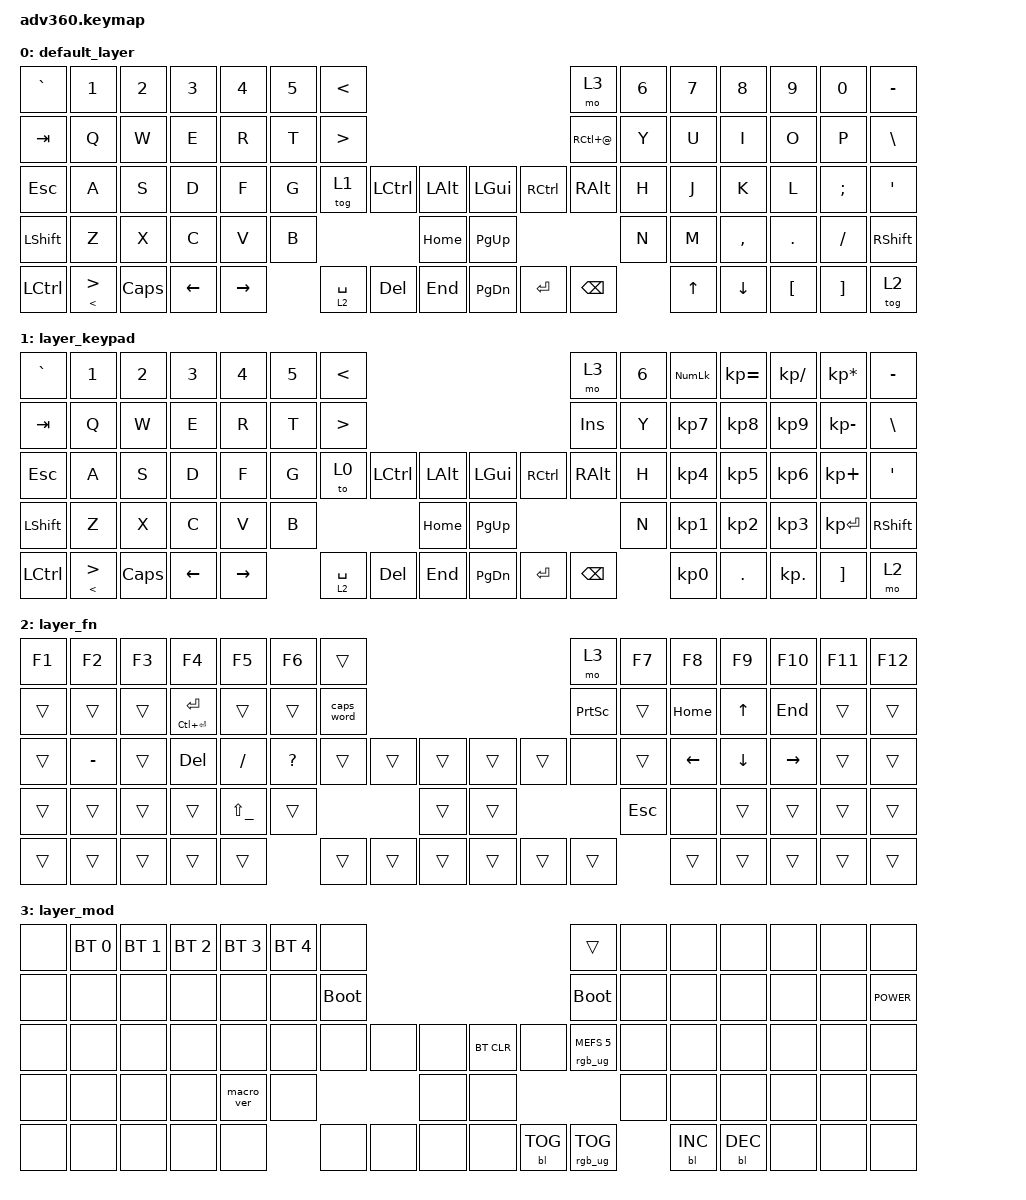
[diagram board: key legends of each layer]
/*
 * Copyright (c) 2020 The ZMK Contributors
 *
 * SPDX-License-Identifier: MIT
 */
/* THIS FILE WAS GENERATED!
 *
 * This file was generated automatically. You may or may not want to
 * edit it directly.
 */

#include <behaviors.dtsi>
#include <dt-bindings/zmk/backlight.h>
#include <dt-bindings/zmk/bt.h>
#include <dt-bindings/zmk/keys.h>
#include <dt-bindings/zmk/rgb.h>

/ {
    behaviors {
        #include "macros.dtsi"
    #include "version.dtsi"

        hm: homerow_mods {
            compatible = "zmk,behavior-hold-tap";
            label = "HOMEROW_MODS";
            #binding-cells = <2>;
            tapping-term-ms = <200>;
            quick_tap_ms = <175>;
            flavor = "tap-preferred";
            bindings = <&kp>, <&kp>;
        };
    };

    keymap {
        compatible = "zmk,keymap";

        default_layer {
            bindings = <
&kp GRAVE  &kp N1                      &kp N2    &kp N3          &kp N4           &kp N5  &kp LT                                                       &mo 3            &kp N6  &kp N7        &kp N8          &kp N9    &kp N0    &kp MINUS
&kp TAB    &kp Q                       &kp W     &kp E           &kp R            &kp T   &kp GT                                                       &kp RC(AT_SIGN)  &kp Y   &kp U         &kp I           &kp O     &kp P     &kp BSLH
&kp ESC    &kp A                       &kp S     &kp D           &kp F            &kp G   &tog 1       &kp LCTRL   &kp LALT      &kp LGUI   &kp RCTRL  &kp RALT         &kp H   &kp J         &kp K           &kp L     &kp SEMI  &kp SQT
&kp LSHFT  &kp Z                       &kp X     &kp C           &kp V            &kp B                            &kp HOME      &kp PG_UP                              &kp N   &kp M         &kp COMMA       &kp DOT   &kp FSLH  &kp RSHFT
&kp LCTRL  &hm LESS_THAN GREATER_THAN  &kp CLCK  &kp LEFT_ARROW  &kp RIGHT_ARROW          &lt 2 SPACE  &kp DELETE  &kp END       &kp PG_DN  &kp RET    &kp BSPC                 &kp UP_ARROW  &kp DOWN_ARROW  &kp LBKT  &kp RBKT  &tog 2
            >;
        };

        layer_keypad {
            bindings = <
&kp GRAVE  &kp N1                      &kp N2    &kp N3    &kp N4     &kp N5  &kp LESS_THAN                                                    &mo 3          &kp N6  &kp KP_NUM       &kp KP_EQUAL  &kp KP_DIVIDE  &kp KP_MULTIPLY  &kp MINUS
&kp TAB    &kp Q                       &kp W     &kp E     &kp R      &kp T   &kp GREATER_THAN                                                 &kp INSERT     &kp Y   &kp KP_N7        &kp KP_N8     &kp KP_N9      &kp KP_MINUS     &kp BSLH
&kp ESC    &kp A                       &kp S     &kp D     &kp F      &kp G   &to 0             &kp LCTRL  &kp LALT      &kp LGUI   &kp RCTRL  &kp RALT       &kp H   &kp KP_N4        &kp KP_N5     &kp KP_N6      &kp KP_PLUS      &kp SQT
&kp LSHFT  &kp Z                       &kp X     &kp C     &kp V      &kp B                                &kp HOME      &kp PG_UP                            &kp N   &kp KP_N1        &kp KP_N2     &kp KP_N3      &kp KP_ENTER     &kp RSHFT
&kp LCTRL  &hm LESS_THAN GREATER_THAN  &kp CAPS  &kp LEFT  &kp RIGHT          &lt 2 SPACE       &kp DEL    &kp END       &kp PG_DN  &kp ENTER  &kp BACKSPACE          &kp KP_NUMBER_0  &kp DOT       &kp KP_DOT     &kp RBKT         &mo 2
            >;
        };

        layer_fn {
            bindings = <
&kp F1  &kp F2     &kp F3  &kp F4               &kp F5         &kp F6        &trans                                          &mo 3            &kp F7      &kp F8    &kp F9        &kp F10    &kp F11  &kp F12
&trans  &trans     &trans  &mt LC(ENTER) ENTER  &trans         &trans        &caps_word                                      &kp PRINTSCREEN  &trans      &kp HOME  &kp UP_ARROW  &kp END    &trans   &trans
&trans  &kp MINUS  &trans  &kp DEL              &kp SLASH      &kp QUESTION  &trans      &trans  &trans      &trans  &trans  &none            &trans      &kp LEFT  &kp DOWN      &kp RIGHT  &trans   &trans
&trans  &trans     &trans  &trans               &kp LS(UNDER)  &trans                            &trans      &trans                           &kp ESCAPE  &none     &trans        &trans     &trans   &trans
&trans  &trans     &trans  &trans               &trans                       &trans      &trans  &trans      &trans  &trans  &trans                       &trans    &trans        &trans     &trans   &trans
            >;
        };

        layer_mod {
            bindings = <
&none  &bt BT_SEL 0  &bt BT_SEL 1  &bt BT_SEL 2  &bt BT_SEL 3  &bt BT_SEL 4  &none                                                  &trans                  &none  &none       &none       &none  &none  &none
&none  &none         &none         &none         &none         &none         &bootloader                                            &bootloader             &none  &none       &none       &none  &none  &kp C_POWER
&none  &none         &none         &none         &none         &none         &none        &none  &none      &bt BT_CLR  &none       &rgb_ug RGB_MEFS_CMD 5  &none  &none       &none       &none  &none  &none
&none  &none         &none         &none         &macro_ver    &none                             &none      &none                                           &none  &none       &none       &none  &none  &none
&none  &none         &none         &none         &none                       &none        &none  &none      &none       &bl BL_TOG  &rgb_ug RGB_TOG                &bl BL_INC  &bl BL_DEC  &none  &none  &none
            >;
        };
    };
};
